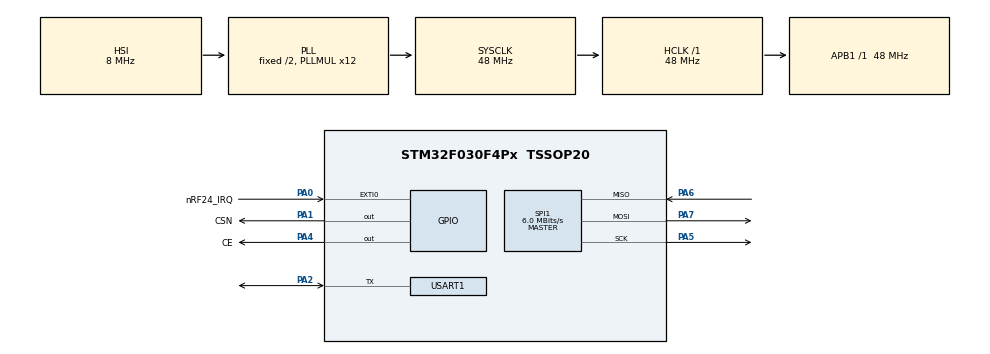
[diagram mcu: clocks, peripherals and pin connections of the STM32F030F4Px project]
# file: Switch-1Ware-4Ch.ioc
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Mcu.Family=STM32F0
Mcu.Name=STM32F030F4Px
Mcu.Package=TSSOP20
NVIC.EXTI0_1_IRQn=true\:0\:0\:false\:false\:true
PA0.GPIO_Label=nRF24_IRQ
PA0.GPIO_ModeDefaultEXTI=GPIO_MODE_IT_FALLING
PA0.Signal=GPXTI0
PA1.GPIO_Label=CSN
PA1.GPIO_PuPd=GPIO_PULLUP
PA1.PinState=GPIO_PIN_SET
PA1.Signal=GPIO_Output
PA2.Mode=Half_duplex(single_wire_mode)
PA2.Signal=USART1_TX
PA4.GPIO_Label=CE
PA4.Signal=GPIO_Output
PA5.Mode=Full_Duplex_Master
PA5.Signal=SPI1_SCK
PA6.Mode=Full_Duplex_Master
PA6.Signal=SPI1_MISO
PA7.Mode=Full_Duplex_Master
PA7.Signal=SPI1_MOSI
ProjectManager.HeapSize=0x400
ProjectManager.StackSize=0x200
ProjectManager.TargetToolchain=MDK-ARM V5
RCC.AHBFreq_Value=48000000
RCC.APB1Freq_Value=48000000
RCC.APB1TimFreq_Value=48000000
RCC.HCLKFreq_Value=48000000
RCC.PLLMUL=RCC_PLL_MUL12
RCC.SYSCLKFreq_VALUE=48000000
RCC.SYSCLKSource=RCC_SYSCLKSOURCE_PLLCLK
SPI1.BaudRatePrescaler=SPI_BAUDRATEPRESCALER_8
SPI1.CalculateBaudRate=6.0 MBits/s
SPI1.DataSize=SPI_DATASIZE_8BIT
SPI1.Mode=SPI_MODE_MASTER
USART1.BaudRate=115200
board=Switch-1Ware-4Ch

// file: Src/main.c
/**
  ******************************************************************************
  * File Name          : main.c
  * Description        : Main program body
  ******************************************************************************
  *
  * COPYRIGHT(c) 2016 STMicroelectronics
  *
  * Redistribution and use in source and binary forms, with or without modification,
  * are permitted provided that the following conditions are met:
  *   1. Redistributions of source code must retain the above copyright notice,
  *      this list of conditions and the following disclaimer.
  *   2. Redistributions in binary form must reproduce the above copyright notice,
  *      this list of conditions and the following disclaimer in the documentation
  *      and/or other materials provided with the distribution.
  *   3. Neither the name of STMicroelectronics nor the names of its contributors
  *      may be used to endorse or promote products derived from this software
  *      without specific prior written permission.
  *
  * THIS SOFTWARE IS PROVIDED BY THE COPYRIGHT HOLDERS AND CONTRIBUTORS "AS IS"
  * AND ANY EXPRESS OR IMPLIED WARRANTIES, INCLUDING, BUT NOT LIMITED TO, THE
  * IMPLIED WARRANTIES OF MERCHANTABILITY AND FITNESS FOR A PARTICULAR PURPOSE ARE
  * DISCLAIMED. IN NO EVENT SHALL THE COPYRIGHT HOLDER OR CONTRIBUTORS BE LIABLE
  * FOR ANY DIRECT, INDIRECT, INCIDENTAL, SPECIAL, EXEMPLARY, OR CONSEQUENTIAL
  * DAMAGES (INCLUDING, BUT NOT LIMITED TO, PROCUREMENT OF SUBSTITUTE GOODS OR
  * SERVICES; LOSS OF USE, DATA, OR PROFITS; OR BUSINESS INTERRUPTION) HOWEVER
  * CAUSED AND ON ANY THEORY OF LIABILITY, WHETHER IN CONTRACT, STRICT LIABILITY,
  * OR TORT (INCLUDING NEGLIGENCE OR OTHERWISE) ARISING IN ANY WAY OUT OF THE USE
  * OF THIS SOFTWARE, EVEN IF ADVISED OF THE POSSIBILITY OF SUCH DAMAGE.
  *
  ******************************************************************************
  */
#include "stm32f0xx_hal.h"
#include "spi.h"
#include "usart.h"
#include "gpio.h"

/* USER CODE BEGIN Includes */
#include "nRF24L01P.h"
#include "rf_cmd.h"
//#include "rf_cmd_exec.h"
#include "config.h"
#include "1Ware.h"
/* USER CODE END Includes */

/* USER CODE BEGIN PV */
#define PUTCHAR_PROTOTYPE int fputc(int ch, FILE *f)
/* Private variables ---------------------------------------------------------*/
extern char *CompileTime;
extern char *CompileDate;

int HandleStatusNeeded = 0x00;
uint32_t SetupInterval = 0x00;
uint8_t Flags = 0x00;

/* USER CODE END PV */

void SystemClock_Config(void);

/* USER CODE BEGIN PFP */
/* Private function prototypes -----------------------------------------------*/

/* USER CODE END PFP */

int main(void)
{

  /* MCU Configuration----------------------------------------------------------*/

  /* Reset of all peripherals, Initializes the Flash interface and the Systick. */
  HAL_Init();

  /* Configure the system clock */
  SystemClock_Config();

  /* Initialize all configured peripherals */
  MX_GPIO_Init();
  MX_USART1_UART_Init();
  MX_SPI1_Init();

  /* USER CODE BEGIN 2 */
  printf("Compiled in: %s at %s!\n\n", CompileDate, CompileTime);
  /*
  OneWire_Init(GPIOA, GPIO_PIN_3);

  uint8_t pr = OneWire_CheckPresence();
  printf("pr: %d\n", pr);
  HAL_Delay(1);
  OneWire_SendByte(0xCC);
  OneWire_SendByte(0x4E);
  OneWire_SendByte(0x4B);
  OneWire_SendByte(0x46);
  OneWire_SendByte(0x5F);

  uint16_t Temperature = OneWireReadTemp();

  printf("Temperature: %x\n", Temperature);
  printf("Temperature: %2.2f\n", ((float)Temperature/16));
  */
  if (configREAD_ADDR_ON_START) {
    readConfig();
  }

  nRF24_SetSPIHandler(&hspi1);

  CE_LOW();
  CSN_HIGH();

  nRF24_RXMode();
  nRF24_HandleStatus();
//HAL_GPIO_TogglePin(GPIOA, GPIO_PIN_9);
  /* USER CODE END 2 */

  /* Infinite loop */
  /* USER CODE BEGIN WHILE */
  while (1)
  {
    if (HandleStatusNeeded) {
      HandleStatusNeeded = 0x00;
      Flags = nRF24_HandleStatus();
    }
//    printf("EXTI Pin:%d\n", HAL_GPIO_ReadPin(nRF24_IRQ_GPIO_Port, nRF24_IRQ_Pin));
//    HAL_Delay(500);
  /* USER CODE END WHILE */

  }

}

/** System Clock Configuration
*/
void SystemClock_Config(void)
{

  RCC_OscInitTypeDef RCC_OscInitStruct;
  RCC_ClkInitTypeDef RCC_ClkInitStruct;
  RCC_PeriphCLKInitTypeDef PeriphClkInit;

  RCC_OscInitStruct.OscillatorType = RCC_OSCILLATORTYPE_HSI;
  RCC_OscInitStruct.HSIState = RCC_HSI_ON;
  RCC_OscInitStruct.HSICalibrationValue = 16;
  RCC_OscInitStruct.PLL.PLLState = RCC_PLL_ON;
  RCC_OscInitStruct.PLL.PLLSource = RCC_PLLSOURCE_HSI;
  RCC_OscInitStruct.PLL.PLLMUL = RCC_PLL_MUL12;
  RCC_OscInitStruct.PLL.PREDIV = RCC_PREDIV_DIV1;
  HAL_RCC_OscConfig(&RCC_OscInitStruct);

  RCC_ClkInitStruct.ClockType = RCC_CLOCKTYPE_HCLK|RCC_CLOCKTYPE_SYSCLK
                              |RCC_CLOCKTYPE_PCLK1;
  RCC_ClkInitStruct.SYSCLKSource = RCC_SYSCLKSOURCE_PLLCLK;
  RCC_ClkInitStruct.AHBCLKDivider = RCC_SYSCLK_DIV1;
  RCC_ClkInitStruct.APB1CLKDivider = RCC_HCLK_DIV1;
  HAL_RCC_ClockConfig(&RCC_ClkInitStruct, FLASH_LATENCY_1);

  PeriphClkInit.PeriphClockSelection = RCC_PERIPHCLK_USART1;
  PeriphClkInit.Usart1ClockSelection = RCC_USART1CLKSOURCE_PCLK1;
  HAL_RCCEx_PeriphCLKConfig(&PeriphClkInit);

  HAL_SYSTICK_Config(HAL_RCC_GetHCLKFreq()/1000);

  HAL_SYSTICK_CLKSourceConfig(SYSTICK_CLKSOURCE_HCLK);

  /* SysTick_IRQn interrupt configuration */
  HAL_NVIC_SetPriority(SysTick_IRQn, 0, 0);
}

/* USER CODE BEGIN 4 */

void HAL_GPIO_EXTI_Callback(uint16_t GPIO_Pin) {
  if (GPIO_Pin == GPIO_PIN_0) {                 //NRF24L0+ IRQ
    printf("HAL_GPIO_EXTI_Callback\n");
    HandleStatusNeeded = 0x01;
  }
}

PUTCHAR_PROTOTYPE
{
  HAL_UART_Transmit(&huart1, (uint8_t *)&ch, 1, 0xFF);
  return ch;
}
/* USER CODE END 4 */

/************************ (C) COPYRIGHT STMicroelectronics *****END OF FILE****/
